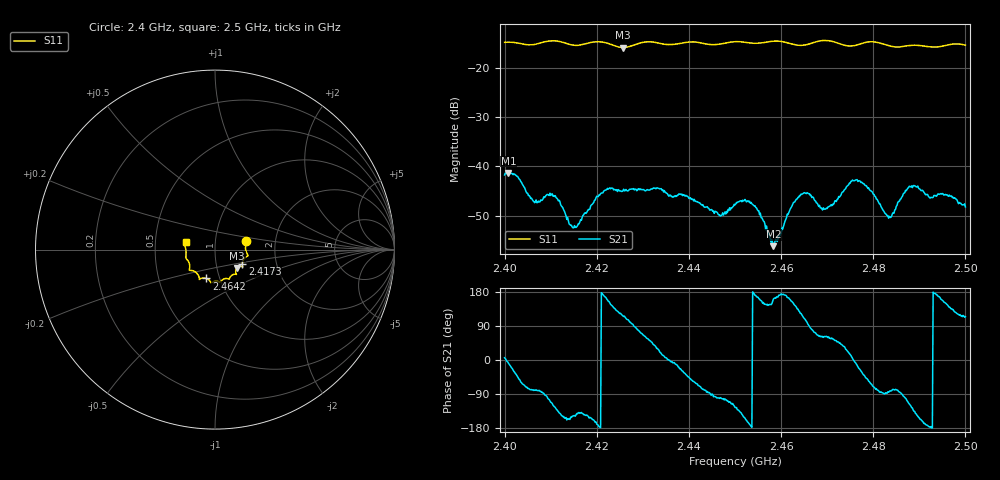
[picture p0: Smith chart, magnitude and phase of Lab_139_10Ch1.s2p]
# Hz S RI R 50
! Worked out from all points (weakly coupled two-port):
!   601 points, 2.4 GHz to 2.5 GHz, reference 50 ohm
!   highest |S21| = -41.34 dB at 2.4008 GHz (marker M1); lowest = -56.2 dB at 2.4583 GHz (marker M2)
!   lowest |S11| = -15.9 dB at 2.4257 GHz (marker M3), VSWR 1.38, Z = 62.4 - j13.1 ohm
!   |S11| at or under -10 dB: start of sweep to end of sweep
!   S12 and S22 are empty: the file has one direction only
!   S11 on the Smith chart (normalised r, x): 2.4 GHz: 1.41, +0.14; 2.4173 GHz: 1.34, -0.23; 2.4642 GHz: 0.86, -0.29; 2.5 GHz: 0.72, +0.06
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2.4e9  0.1732 0.0495  0.00812 0.000841  0 0  0 0
2.400833e9  0.1751 0.0465  0.00847 -0.00128  0 0  0 0
2.402833e9  0.1739 0.0362  0.00561 -0.00555  0 0  0 0
2.406667e9  0.1719 -0.00685  0.000742 -0.00426  0 0  0 0
2.410833e9  0.1836 -0.0339  -0.00273 -0.00411  0 0  0 0
2.4145e9  0.1624 -0.0508  -0.00222 -0.0012  0 0  0 0
2.416667e9  0.153 -0.0747  -0.00213 -0.00187  0 0  0 0
2.417333e9  0.1524 -0.0821  -0.0027 -0.00197  0 0  0 0
2.422e9  0.1511 -0.0945  -0.00555 0.00153  0 0  0 0
2.425667e9  0.1226 -0.1022  -0.00252 0.00502  0 0  0 0
2.433333e9  0.1129 -0.1368  0.00528 0.00281  0 0  0 0
2.446667e9  0.0425 -0.1677  -0.000631 -0.00316  0 0  0 0
2.45e9  0.0297 -0.1807  -0.00233 -0.00332  0 0  0 0
2.454e9  0.0103 -0.1761  -0.00402 0.000285  0 0  0 0
2.458333e9  -0.02 -0.1841  -0.00146 0.00051  0 0  0 0
2.464167e9  -0.0482 -0.1609  -0.00277 0.0042  0 0  0 0
2.466667e9  -0.0761 -0.1597  0.000798 0.00475  0 0  0 0
2.4695e9  -0.0877 -0.1667  0.00174 0.00324  0 0  0 0
2.476667e9  -0.1237 -0.1175  0.00667 -0.00214  0 0  0 0
2.483333e9  -0.1408 -0.0894  0.000256 -0.00297  0 0  0 0
2.488333e9  -0.1608 -0.0492  -0.00367 -0.00516  0 0  0 0
2.5e9  -0.1635 0.042  -0.00159 0.00353  0 0  0 0
